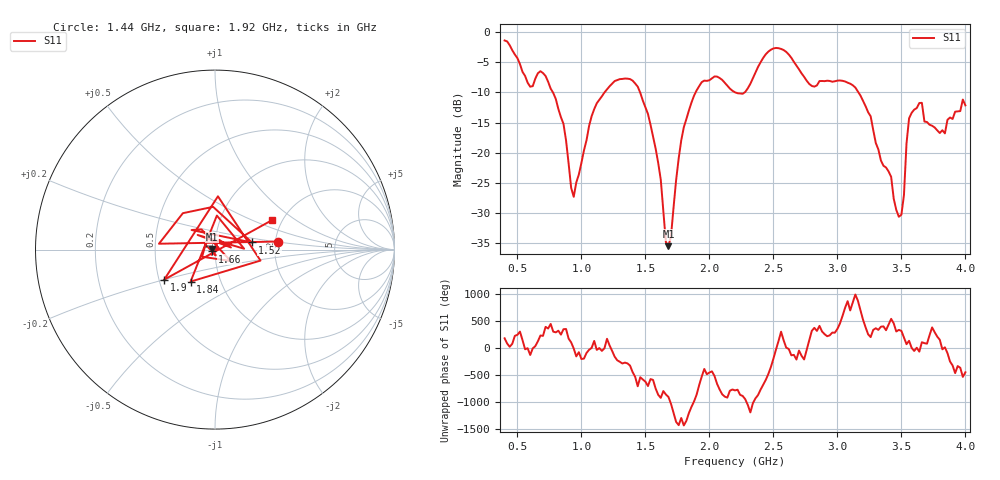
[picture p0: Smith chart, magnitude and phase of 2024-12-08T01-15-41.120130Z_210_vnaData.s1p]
!Created with skrf (http://scikit-rf.org).
# Hz S RI R 50.0
!freq ReS11 ImS11
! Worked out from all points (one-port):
!   181 points, 400 MHz to 4 GHz, reference 50 ohm
!   lowest |S11| = -35.5 dB at 1.68 GHz (marker M1), VSWR 1.03, Z = 48.4 + j0.284 ohm
!   |S11| at or under -10 dB: 777.8 MHz to 1.18 GHz (402.4 MHz wide, 41.1 % of centre); 1.459 GHz to 1.892 GHz (433.5 MHz wide, 25.9 % of centre); 3.165 GHz to end of sweep (the widest 3 of 4)
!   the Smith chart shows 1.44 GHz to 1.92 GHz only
!   S11 on the Smith chart (normalised r, x): 1.44 GHz: 2.06, +0.21; 1.52 GHz: 1.51, +0.13; 1.66 GHz: 0.97, -0.02; 1.84 GHz: 0.72, -0.27; 1.9 GHz: 0.53, -0.20; 1.92 GHz: 1.77, +0.66
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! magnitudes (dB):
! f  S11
! 400 MHz  -1.4
! 600 MHz  -9.0
! 720 MHz  -7.3
! 860 MHz  -15.2
! 940 MHz  -27.3
! 1.1 GHz  -12.8
! 1.3 GHz  -7.8
! 1.44 GHz  -9.0
! 1.52 GHz  -13.6
! 1.62 GHz  -24.5
! 1.66 GHz  -34.9
! 1.68 GHz  -35.5
! 1.76 GHz  -21.0
! 1.84 GHz  -13.0
! 1.9 GHz  -9.7
! 1.92 GHz  -9.0
! 2.2 GHz  -10.0
! 2.48 GHz  -2.9
! 2.66 GHz  -4.9
! 2.8 GHz  -8.9
! 3.1 GHz  -8.5
! 3.26 GHz  -14.0
! 3.48 GHz  -30.7
! 3.52 GHz  -27.0
! 3.56 GHz  -14.3
! 3.66 GHz  -11.7
! 3.84 GHz  -16.8
! 4 GHz  -12.1
